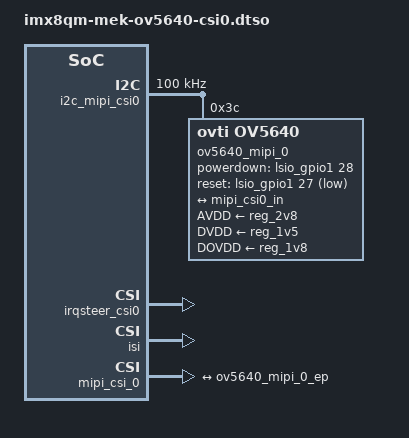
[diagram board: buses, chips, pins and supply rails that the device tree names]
// SPDX-License-Identifier: (GPL-2.0+ OR MIT)
/*
 * Copyright 2025 NXP
 */

/dts-v1/;
/plugin/;

#include <dt-bindings/gpio/gpio.h>
#include <dt-bindings/media/video-interfaces.h>

&i2c_mipi_csi0 {
	#address-cells = <1>;
	#size-cells = <0>;
	clock-frequency = <100000>;
	pinctrl-0 = <&pinctrl_i2c_mipi_csi0>;
	pinctrl-names = "default";
	status = "okay";

	ov5640_mipi_0: camera@3c {
		compatible = "ovti,ov5640";
		reg = <0x3c>;
		clocks = <&xtal24m>;
		clock-names = "xclk";
		pinctrl-0 = <&pinctrl_mipi_csi0>;
		pinctrl-names = "default";
		powerdown-gpios = <&lsio_gpio1 28 GPIO_ACTIVE_HIGH>;
		reset-gpios = <&lsio_gpio1 27 GPIO_ACTIVE_LOW>;
		AVDD-supply = <&reg_2v8>;
		DVDD-supply = <&reg_1v5>;
		DOVDD-supply = <&reg_1v8>;

		port {
			ov5640_mipi_0_ep: endpoint {
				bus-type = <MEDIA_BUS_TYPE_CSI2_DPHY>;
				data-lanes = <1 2>;
				remote-endpoint = <&mipi_csi0_in>;
			};
		};
	};
};

&irqsteer_csi0 {
	status = "okay";
};

&isi {
	status = "okay";
};

&mipi_csi_0 {
	status = "okay";

	ports {
		port@0 {
			mipi_csi0_in: endpoint {
				data-lanes = <1 2>;
				remote-endpoint = <&ov5640_mipi_0_ep>;
			};
		};
	};
};
